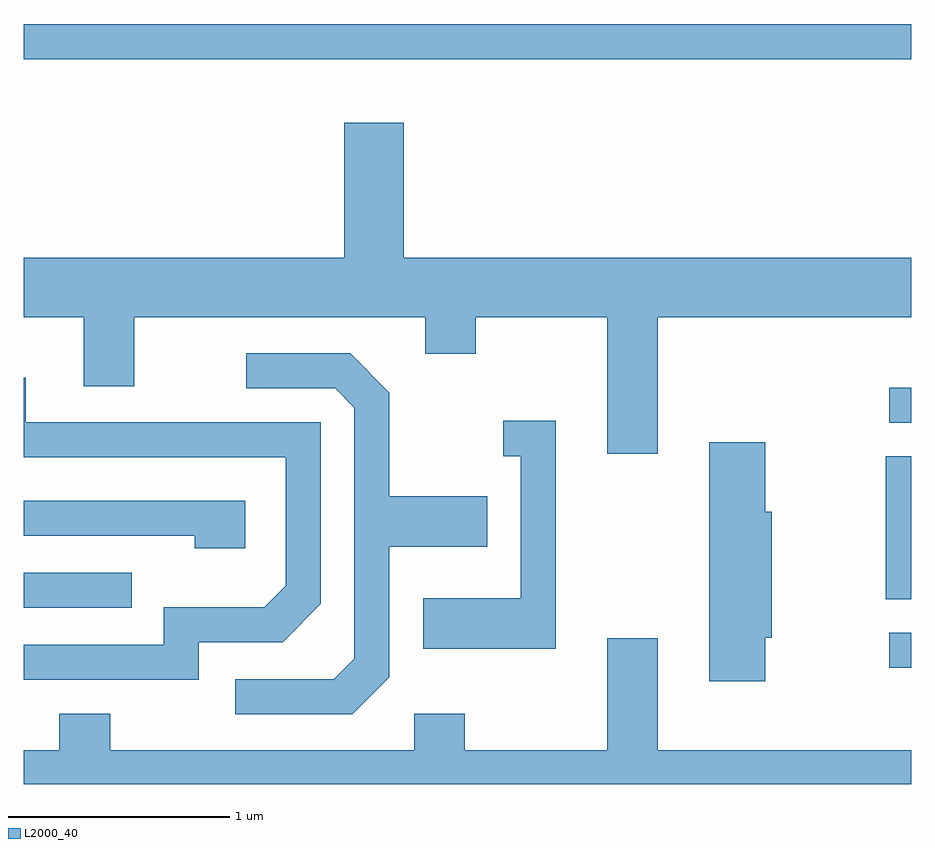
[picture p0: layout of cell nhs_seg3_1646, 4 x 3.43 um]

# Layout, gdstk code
import gdstk
lib = gdstk.Library(unit=1e-6, precision=1e-09)
def R(c, l, rs):  # rectangles x0, y0, x1, y1
    for r in rs: c.add(gdstk.rectangle(r[:2], r[2:], *l))
def P(c, l, *ps):  # polygons
    for p in ps: c.add(gdstk.Polygon(p, *l))
L2000_40 = (2000, 40)

nhs_seg3_1646 = lib.new_cell('nhs_seg3_1646')
R(nhs_seg3_1646, L2000_40, [(237.513,1144.416,237.611,1144.574), (233.611,1144.686,234.098,1144.844), (237.496,1144.726,237.611,1145.369), (237.513,1145.521,237.611,1145.679), (233.611,1147.161,237.611,1147.319)])
P(nhs_seg3_1646, L2000_40, [(236.469,1145.996),(237.611,1145.996),(237.611,1146.264),(235.324,1146.264),(235.324,1146.874),(235.056,1146.874),(235.056,1146.264),(233.611,1146.264),(233.611,1145.996),(233.881,1145.996),(233.881,1145.686),(234.109,1145.686),(234.109,1145.996),(235.421,1145.996),(235.421,1145.831),(235.649,1145.831),(235.649,1145.996),(236.241,1145.996),(236.241,1145.381),(236.469,1145.381)],
  [(235.259,1144.374),(235.259,1144.961),(235.699,1144.961),(235.699,1145.189),(235.259,1145.189),(235.259,1145.657),(235.082,1145.834),(234.613,1145.834),(234.613,1145.676),(235.014,1145.676),(235.101,1145.589),(235.101,1144.457),(235.009,1144.364),(234.563,1144.364),(234.563,1144.206),(235.092,1144.206)],
  [(234.399,1144.531),(234.777,1144.531),(234.949,1144.704),(234.949,1145.524),(233.619,1145.524),(233.619,1145.723),(233.611,1145.723),(233.611,1145.366),(234.791,1145.366),(234.791,1144.787),(234.694,1144.689),(234.241,1144.689),(234.241,1144.519),(233.611,1144.519),(233.611,1144.361),(234.399,1144.361)],
  [(236.009,1145.529),(235.773,1145.529),(235.773,1145.371),(235.851,1145.371),(235.851,1144.729),(235.411,1144.729),(235.411,1144.501),(236.009,1144.501)],
  [(236.954,1144.551),(236.984,1144.551),(236.984,1145.119),(236.954,1145.119),(236.954,1145.434),(236.701,1145.434),(236.701,1144.356),(236.954,1144.356)],
  [(234.609,1145.169),(233.611,1145.169),(233.611,1145.011),(234.381,1145.011),(234.381,1144.956),(234.609,1144.956)],
  [(235.371,1144.209),(235.371,1144.044),(233.999,1144.044),(233.999,1144.209),(233.771,1144.209),(233.771,1144.044),(233.611,1144.044),(233.611,1143.892),(237.611,1143.892),(237.611,1144.044),(236.469,1144.044),(236.469,1144.549),(236.241,1144.549),(236.241,1144.044),(235.599,1144.044),(235.599,1144.209)])

lib.write_gds('nhs_seg3_1646.gds')
